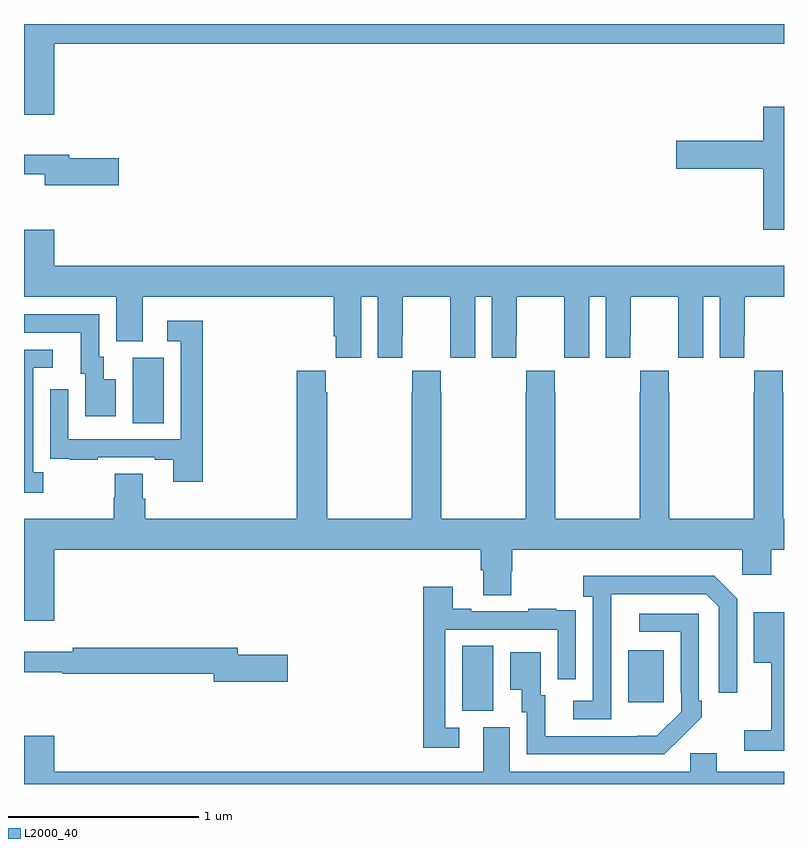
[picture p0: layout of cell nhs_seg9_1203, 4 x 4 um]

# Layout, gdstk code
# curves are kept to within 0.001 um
import gdstk
lib = gdstk.Library(unit=1e-6, precision=1e-09)
def R(c, l, rs):  # rectangles x0, y0, x1, y1
    for r in rs: c.add(gdstk.rectangle(r[:2], r[2:], *l))
def P(c, l, *ps):  # polygons
    for p in ps: c.add(gdstk.Polygon(p, *l))
L2000_40 = (2000, 40)

nhs_seg9_1203 = lib.new_cell('nhs_seg9_1203')
R(nhs_seg9_1203, L2000_40, [(179.306,1216.885,179.47,1217.228), (180.179,1216.929,180.367,1217.203), (177.572,1218.4,177.736,1218.744)])
P(nhs_seg9_1203, L2000_40, [(177.16,1220.396),(181,1220.396),(181,1220.5),(177,1220.5),(177,1220.022),(177.16,1220.022)],
  [(181,1220.065),(180.89,1220.065),(180.89,1219.886),(180.432,1219.886),(180.432,1219.739),(180.89,1219.739),(180.89,1219.416),(181,1219.416)],
  [(177.499,1219.793),(177.238,1219.793),(177.238,1219.811),(177,1219.811),(177,1219.708),(177.11,1219.708),(177.11,1219.651),(177.499,1219.651)],
  [(177.16,1219.417),(177,1219.417),(177,1219.064),(177.485,1219.064),(177.485,1218.829),(177.625,1218.829),(177.625,1219.064),(178.631,1219.064),(178.631,1218.856),(178.64,1218.856),(178.64,1218.744),(178.774,1218.744),(178.774,1219.064),(178.862,1219.064),(178.862,1218.744),(178.992,1218.744),(178.992,1218.856),(178.993,1218.856),(178.993,1219.064),(179.243,1219.064),(179.243,1218.856),(179.244,1218.856),(179.244,1218.744),(179.374,1218.744),(179.374,1219.064),(179.462,1219.064),(179.462,1218.744),(179.592,1218.744),(179.592,1218.856),(179.593,1218.856),(179.593,1219.064),(179.843,1219.064),(179.843,1218.856),(179.844,1218.856),(179.844,1218.744),(179.974,1218.744),(179.974,1219.064),(180.062,1219.064),(180.062,1218.744),(180.192,1218.744),(180.192,1218.856),(180.193,1218.856),(180.193,1219.064),(180.443,1219.064),(180.443,1218.856),(180.444,1218.856),(180.444,1218.744),(180.574,1218.744),(180.574,1219.064),(180.662,1219.064),(180.662,1218.744),(180.792,1218.744),(180.792,1218.856),(180.793,1218.856),(180.793,1219.064),(181,1219.064),(181,1219.228),(177.16,1219.228)],
  [(177.484,1218.631),(177.421,1218.631),(177.421,1218.75),(177.396,1218.75),(177.396,1218.972),(177,1218.972),(177,1218.876),(177.299,1218.876),(177.299,1218.66),(177.323,1218.66),(177.323,1218.435),(177.484,1218.435)],
  [(177.941,1218.937),(177.753,1218.937),(177.753,1218.831),(177.825,1218.831),(177.825,1218.315),(177.234,1218.315),(177.234,1218.577),(177.138,1218.577),(177.138,1218.322),(177.139,1218.322),(177.139,1218.213),(177.241,1218.213),(177.241,1218.207),(177.389,1218.207),(177.389,1218.219),(177.689,1218.219),(177.689,1218.207),(177.785,1218.207),(177.785,1218.09),(177.941,1218.09)],
  [(177.1,1218.142),(177.048,1218.142),(177.048,1218.69),(177.151,1218.69),(177.151,1218.786),(177,1218.786),(177,1218.032),(177.1,1218.032)],
  [(177.16,1217.732),(179.405,1217.732),(179.405,1217.626),(179.417,1217.626),(179.417,1217.494),(179.565,1217.494),(179.565,1217.619),(179.57,1217.619),(179.57,1217.732),(180.78,1217.732),(180.78,1217.601),(180.932,1217.601),(180.932,1217.732),(181,1217.732),(181,1217.896),(180.996,1217.896),(180.996,1218.563),(180.993,1218.563),(180.993,1218.676),(180.843,1218.676),(180.843,1218.563),(180.841,1218.563),(180.841,1217.896),(180.396,1217.896),(180.396,1218.563),(180.393,1218.563),(180.393,1218.676),(180.243,1218.676),(180.243,1218.563),(180.241,1218.563),(180.241,1217.896),(179.796,1217.896),(179.796,1218.563),(179.793,1218.563),(179.793,1218.676),(179.643,1218.676),(179.643,1218.563),(179.641,1218.563),(179.641,1217.896),(179.196,1217.896),(179.196,1218.563),(179.193,1218.563),(179.193,1218.676),(179.043,1218.676),(179.043,1218.563),(179.041,1218.563),(179.041,1217.896),(178.596,1217.896),(178.596,1218.563),(178.589,1218.563),(178.589,1218.676),(178.436,1218.676),(178.436,1217.896),(177.638,1217.896),(177.638,1218.002),(177.625,1218.002),(177.625,1218.134),(177.478,1218.134),(177.478,1218.009),(177.473,1218.009),(177.473,1217.896),(177,1217.896),(177,1217.358),(177.16,1217.358)],
  [(180.09,1217.299),(180.091,1217.499),(180.591,1217.499),(180.657,1217.433),(180.657,1216.98),(180.753,1216.98),(180.753,1217.475),(180.632,1217.596),(179.943,1217.596),(179.943,1217.486),(179.994,1217.486),(179.994,1216.938),(179.892,1216.938),(179.892,1216.842),(180.09,1216.842)],
  [(179.29,1216.797),(179.217,1216.797),(179.217,1217.313),(179.808,1217.313),(179.808,1217.052),(179.904,1217.052),(179.904,1217.306),(179.903,1217.306),(179.903,1217.415),(179.801,1217.415),(179.801,1217.422),(179.653,1217.422),(179.653,1217.409),(179.353,1217.409),(179.353,1217.422),(179.257,1217.422),(179.257,1217.539),(179.101,1217.539),(179.101,1216.692),(179.29,1216.692)],
  [(181,1217.403),(180.842,1217.403),(180.842,1217.138),(180.932,1217.138),(180.932,1216.783),(180.792,1216.783),(180.792,1216.674),(181,1216.674)],
  [(180.461,1216.747),(180.462,1216.746),(180.567,1216.851),(180.567,1216.939),(180.552,1216.939),(180.552,1217.397),(180.237,1217.397),(180.237,1217.301),(180.456,1217.301),(180.456,1216.981),(180.459,1216.981),(180.459,1216.881),(180.331,1216.753),(179.743,1216.752),(179.743,1216.968),(179.719,1216.968),(179.719,1217.194),(179.558,1217.194),(179.558,1216.997),(179.621,1216.997),(179.621,1216.878),(179.646,1216.878),(179.646,1216.656),(180.37,1216.656)],
  [(178.387,1217.18),(178.126,1217.18),(178.126,1217.216),(177.256,1217.216),(177.256,1217.197),(177,1217.197),(177,1217.088),(177.202,1217.088),(177.202,1217.08),(177.998,1217.08),(177.998,1217.038),(178.387,1217.038)],
  [(181,1216.564),(180.646,1216.564),(180.646,1216.662),(180.507,1216.662),(180.507,1216.564),(179.557,1216.564),(179.557,1216.8),(179.417,1216.8),(179.417,1216.564),(177.16,1216.564),(177.16,1216.753),(177,1216.753),(177,1216.5),(181,1216.5)])

lib.write_gds('nhs_seg9_1203.gds')
